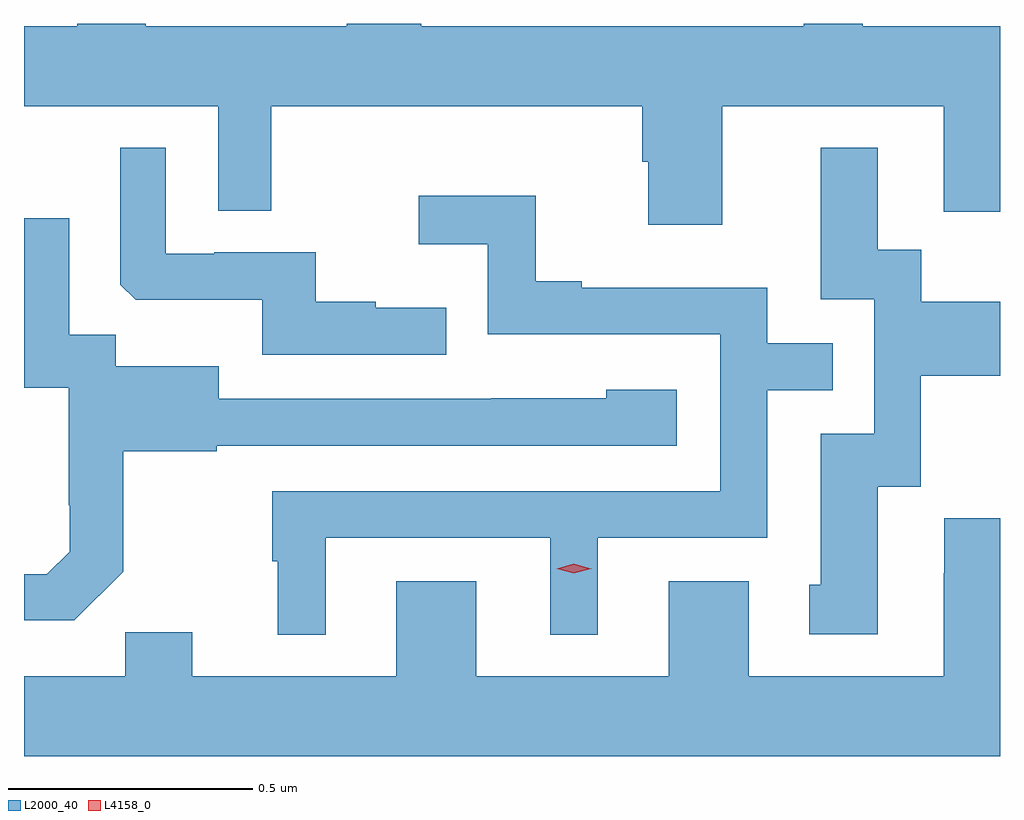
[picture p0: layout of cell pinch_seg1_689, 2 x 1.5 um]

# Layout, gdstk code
import gdstk
lib = gdstk.Library(unit=1e-6, precision=1e-09)
def P(c, l, *ps):  # polygons
    for p in ps: c.add(gdstk.Polygon(p, *l))
L2000_40 = (2000, 40)
L4158_0 = (4158, 0)

pinch_seg1_689 = lib.new_cell('pinch_seg1_689')
P(pinch_seg1_689, L2000_40, [(747.961,550.4),(748.415,550.4),(748.415,550.184),(748.53,550.184),(748.53,550.564),(748.249,550.564),(748.249,550.57),(748.128,550.57),(748.128,550.564),(747.344,550.564),(747.344,550.57),(747.191,550.57),(747.191,550.564),(746.779,550.564),(746.779,550.57),(746.639,550.57),(746.639,550.564),(746.53,550.564),(746.53,550.4),(746.928,550.4),(746.928,550.186),(747.037,550.186),(747.037,550.4),(747.797,550.4),(747.797,550.287),(747.809,550.287),(747.809,550.158),(747.961,550.158)],
  [(748.279,549.621),(748.368,549.621),(748.368,549.848),(748.53,549.848),(748.53,550),(748.369,550),(748.369,550.106),(748.279,550.106),(748.279,550.315),(748.163,550.315),(748.163,550.005),(748.272,550.005),(748.272,549.729),(748.163,549.729),(748.163,549.42),(748.139,549.42),(748.139,549.318),(748.279,549.318)],
  [(747.395,549.988),(747.251,549.988),(747.251,550),(747.128,550),(747.128,550.101),(746.92,550.101),(746.92,550.098),(746.82,550.098),(746.82,550.315),(746.727,550.315),(746.727,550.035),(746.759,550.004),(747.018,550.004),(747.018,549.891),(747.395,549.891)],
  [(747.148,549.516),(747.608,549.516),(747.608,549.317),(747.706,549.317),(747.706,549.516),(748.053,549.516),(748.053,549.819),(748.187,549.819),(748.187,549.915),(748.053,549.915),(748.053,550.029),(747.673,550.029),(747.673,550.042),(747.579,550.042),(747.579,550.217),(747.339,550.217),(747.339,550.118),(747.48,550.118),(747.48,549.933),(747.957,549.933),(747.957,549.612),(747.039,549.612),(747.039,549.468),(747.05,549.468),(747.05,549.317),(747.148,549.317)],
  [(746.733,549.447),(746.733,549.693),(746.925,549.693),(746.925,549.705),(747.868,549.705),(747.868,549.82),(747.723,549.82),(747.723,549.802),(747.487,549.802),(747.487,549.801),(746.929,549.801),(746.929,549.868),(746.718,549.868),(746.718,549.932),(746.623,549.932),(746.623,550.171),(746.53,550.171),(746.53,549.824),(746.622,549.824),(746.622,549.583),(746.624,549.583),(746.624,549.488),(746.577,549.441),(746.53,549.441),(746.53,549.347),(746.633,549.347)],
  [(748.53,549.556),(748.416,549.556),(748.416,549.443),(748.415,549.443),(748.415,549.232),(748.015,549.232),(748.015,549.427),(747.851,549.427),(747.851,549.232),(747.457,549.232),(747.457,549.427),(747.293,549.427),(747.293,549.232),(746.875,549.232),(746.875,549.323),(746.737,549.323),(746.737,549.232),(746.53,549.232),(746.53,549.068),(748.53,549.068)])
P(pinch_seg1_689, L4158_0, [(747.657,549.443),(747.622,549.453),(747.621,549.453),(747.622,549.453),(747.657,549.463),(747.692,549.453),(747.693,549.453),(747.692,549.453)])

lib.write_gds('pinch_seg1_689.gds')
